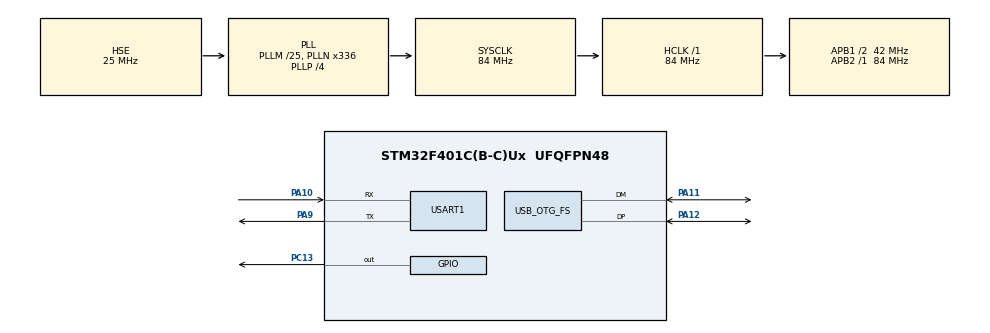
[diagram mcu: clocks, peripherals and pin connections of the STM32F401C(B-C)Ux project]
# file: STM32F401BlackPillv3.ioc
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Dma.Request0=USART1_RX
Dma.Request1=USART1_TX
Dma.USART1_RX.0.Direction=DMA_PERIPH_TO_MEMORY
Dma.USART1_RX.0.FIFOMode=DMA_FIFOMODE_DISABLE
Dma.USART1_RX.0.Instance=DMA2_Stream2
Dma.USART1_RX.0.MemDataAlignment=DMA_MDATAALIGN_BYTE
Dma.USART1_RX.0.MemInc=DMA_MINC_ENABLE
Dma.USART1_RX.0.Mode=DMA_NORMAL
Dma.USART1_RX.0.PeriphDataAlignment=DMA_PDATAALIGN_BYTE
Dma.USART1_RX.0.PeriphInc=DMA_PINC_DISABLE
Dma.USART1_RX.0.Priority=DMA_PRIORITY_LOW
Dma.USART1_TX.1.Direction=DMA_MEMORY_TO_PERIPH
Dma.USART1_TX.1.FIFOMode=DMA_FIFOMODE_DISABLE
Dma.USART1_TX.1.Instance=DMA2_Stream7
Dma.USART1_TX.1.MemDataAlignment=DMA_MDATAALIGN_BYTE
Dma.USART1_TX.1.MemInc=DMA_MINC_ENABLE
Dma.USART1_TX.1.Mode=DMA_NORMAL
Dma.USART1_TX.1.PeriphDataAlignment=DMA_PDATAALIGN_BYTE
Dma.USART1_TX.1.PeriphInc=DMA_PINC_DISABLE
Dma.USART1_TX.1.Priority=DMA_PRIORITY_LOW
Mcu.Family=STM32F4
Mcu.Name=STM32F401C(B-C)Ux
Mcu.Package=UFQFPN48
NVIC.DMA2_Stream2_IRQn=true\:0\:0\:false\:false\:true\:false\:true\:true
NVIC.DMA2_Stream7_IRQn=true\:0\:0\:false\:false\:true\:false\:true\:true
NVIC.OTG_FS_IRQn=true\:0\:0\:false\:false\:true\:false\:true\:true
NVIC.PriorityGroup=NVIC_PRIORITYGROUP_4
NVIC.USART1_IRQn=true\:0\:0\:false\:false\:true\:true\:true\:true
PA10.Mode=Asynchronous
PA10.Signal=USART1_RX
PA11.Mode=Host_Only
PA11.Signal=USB_OTG_FS_DM
PA12.Mode=Host_Only
PA12.Signal=USB_OTG_FS_DP
PA13.Mode=Serial_Wire
PA13.Signal=SYS_JTMS-SWDIO
PA14.Mode=Serial_Wire
PA14.Signal=SYS_JTCK-SWCLK
PA9.Mode=Asynchronous
PA9.Signal=USART1_TX
PB3.Signal=SYS_JTDO-SWO
PC13-ANTI_TAMP.Signal=GPIO_Output
PC14-OSC32_IN.Mode=LSE-External-Oscillator
PC14-OSC32_IN.Signal=RCC_OSC32_IN
PC15-OSC32_OUT.Mode=LSE-External-Oscillator
PC15-OSC32_OUT.Signal=RCC_OSC32_OUT
PH0\ -\ OSC_IN.Mode=HSE-External-Oscillator
PH0\ -\ OSC_IN.Signal=RCC_OSC_IN
PH1\ -\ OSC_OUT.Mode=HSE-External-Oscillator
PH1\ -\ OSC_OUT.Signal=RCC_OSC_OUT
ProjectManager.HeapSize=0x200
ProjectManager.StackSize=0x400
ProjectManager.TargetToolchain=STM32CubeIDE
RCC.48MHZClocksFreq_Value=48000000
RCC.AHBFreq_Value=84000000
RCC.APB1CLKDivider=RCC_HCLK_DIV2
RCC.APB1Freq_Value=42000000
RCC.APB1TimFreq_Value=84000000
RCC.APB2Freq_Value=84000000
RCC.APB2TimFreq_Value=84000000
RCC.CortexFreq_Value=84000000
RCC.HCLKFreq_Value=84000000
RCC.HSE_VALUE=25000000
RCC.HSI_VALUE=16000000
RCC.PLLM=25
RCC.PLLN=336
RCC.PLLP=RCC_PLLP_DIV4
RCC.PLLQ=7
RCC.SYSCLKFreq_VALUE=84000000
RCC.SYSCLKSource=RCC_SYSCLKSOURCE_PLLCLK
RCC.VCOOutputFreq_Value=336000000
USART1.VirtualMode=VM_ASYNC
USB_HOST.USBH_DEBUG_LEVEL=0
USB_HOST.USBH_HandleTypeDef=hUsbHostFS
USB_HOST.VirtualModeFS=Cdc
USB_OTG_FS.VirtualMode=Host_Only
USB_OTG_FS.phy_itface=HCD_PHY_EMBEDDED
VP_USB_HOST_VS_USB_HOST_CDC_FS.Mode=CDC_FS
board=custom

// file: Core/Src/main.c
/* USER CODE BEGIN Header */
/**
  ******************************************************************************
  * @file           : main.c
  * @brief          : Main program body
  ******************************************************************************
  * @attention
  *
  * Copyright (c) 2023 STMicroelectronics.
  * All rights reserved.
  *
  * This software is licensed under terms that can be found in the LICENSE file
  * in the root directory of this software component.
  * If no LICENSE file comes with this software, it is provided AS-IS.
  *
  ******************************************************************************
  */
/* USER CODE END Header */
#include "main.h"
#include "usb_host.h"

/* USER CODE BEGIN Includes */
#include "debugprint.h"
#include "usbh_core.h"
#include "usbh_cdc.h"

#include "strings.h"
#include "ringbuffer.h"
/* USER CODE END Includes */

/* USER CODE BEGIN PTD */
extern USBH_HandleTypeDef hUsbHostFS;
extern ApplicationTypeDef Appli_state;
USBH_StatusTypeDef usbresult;

#define RX_BUFF_SIZE   64  /* Max Received data 1KB */

uint8_t CDC_RX_Buffer[RX_BUFF_SIZE];
uint8_t CDC_TX_Buffer[RX_BUFF_SIZE];

typedef enum {
  CDC_STATE_IDLE = 0,
  CDC_SEND,
  CDC_RECEIVE,
}CDC_StateTypedef;

CDC_StateTypedef CDC_STATE = CDC_STATE_IDLE;

#define RING_BUFF_SIZE 8 /*must be power of 2*/
#define UART_RX_DMA_BUFF_SIZE 512

//#define DMA_RxBUF_SIZE 10
//#define RXBuf_SIZE 2*DMA_RxBUF_SIZE

ring_buffer_t uart_rx_ringbuff_hdl;
uint8_t uart_rx_ringbuff_memory[RING_BUFF_SIZE];
uint8_t dma_uart_rx_buff[UART_RX_DMA_BUFF_SIZE];
/* USER CODE END PTD */

UART_HandleTypeDef huart1;
DMA_HandleTypeDef hdma_usart1_rx;
DMA_HandleTypeDef hdma_usart1_tx;

void SystemClock_Config(void);
static void MX_GPIO_Init(void);
static void MX_DMA_Init(void);
static void MX_USART1_UART_Init(void);
void MX_USB_HOST_Process(void);

/* USER CODE BEGIN 0 */

//https://controllerstech.com/uart-transmit-in-stm32/
char tmpbuf[512];

void uart1_tx_poll(uint8_t *data, uint16_t sz ){
	uint32_t timeout_ms=10;
	HAL_UART_Transmit (&huart1, data, sz, timeout_ms);
}

/**
  * @brief  The application entry point.
  * @retval int
  */

// call back when uart irq
void HAL_UARTEx_RxEventCallback(UART_HandleTypeDef *huart, uint16_t Size){
	if(huart->Instance==USART1){
//		memccpy(rxUartBuff,dmaUartRxBuff,Size);
//		rxUartSize=Size;

		//HAL_UART_Transmit_DMA(&huart1, rxUartBuff, rxUartSize);

		 /* Add array to ring */
		 ring_buffer_queue_arr(&uart_rx_ringbuff_hdl,dma_uart_rx_buff,Size);

		//enable again

		HAL_UARTEx_ReceiveToIdle_DMA(&huart1, dma_uart_rx_buff, sizeof(dma_uart_rx_buff));// enable all irq related to
		  __HAL_DMA_DISABLE_IT(&hdma_usart1_rx,DMA_IT_HT);// dsiable half buffer dma irq

	}

}

void CDC_HANDLER(){
	static ApplicationTypeDef old;
	if(old != Appli_state){

		int n= sprintf(tmpbuf,"Change state from %d to %d \n",old,Appli_state);
		old=Appli_state;
		uart1_tx_poll(tmpbuf,n);
	}

}

//int __io_putchar(int ch)
//{
// // Write character to ITM ch.0
// ITM_SendChar(ch);
// return(ch);
//}

/* USER CODE END 0 */

int main(void)
{

  /* MCU Configuration--------------------------------------------------------*/

  /* Reset of all peripherals, Initializes the Flash interface and the Systick. */
  HAL_Init();

  /* Configure the system clock */
  SystemClock_Config();

  /* Initialize all configured peripherals */
  MX_GPIO_Init();
  MX_DMA_Init();
  MX_USART1_UART_Init();
  MX_USB_HOST_Init();
  /* USER CODE BEGIN 2 */

  ring_buffer_init(&uart_rx_ringbuff_hdl, uart_rx_ringbuff_memory, sizeof(uart_rx_ringbuff_memory));

  //whenever the dma buffer is full or the tx line is idle for one frame time ( 1 byte time) --> the uart irq will be call
  HAL_UARTEx_ReceiveToIdle_DMA(&huart1, dma_uart_rx_buff, sizeof(dma_uart_rx_buff));// enable all irq related to
  __HAL_DMA_DISABLE_IT(&hdma_usart1_rx,DMA_IT_HT);// dsiable half buffer dma irq

  HAL_Delay(1000);

  /* USER CODE END 2 */

  /* Infinite loop */
  /* USER CODE BEGIN WHILE */
  while (1)
  {
	//printf("Debug print form SWO");
    /* USER CODE END WHILE */
    MX_USB_HOST_Process();
    CDC_HANDLER();

  }
}

void SystemClock_Config(void)
{
  RCC_OscInitTypeDef RCC_OscInitStruct = {0};
  RCC_ClkInitTypeDef RCC_ClkInitStruct = {0};

  /** Configure the main internal regulator output voltage
  */
  __HAL_RCC_PWR_CLK_ENABLE();
  __HAL_PWR_VOLTAGESCALING_CONFIG(PWR_REGULATOR_VOLTAGE_SCALE2);

  /** Initializes the RCC Oscillators according to the specified parameters
  * in the RCC_OscInitTypeDef structure.
  */
  RCC_OscInitStruct.OscillatorType = RCC_OSCILLATORTYPE_HSE;
  RCC_OscInitStruct.HSEState = RCC_HSE_ON;
  RCC_OscInitStruct.PLL.PLLState = RCC_PLL_ON;
  RCC_OscInitStruct.PLL.PLLSource = RCC_PLLSOURCE_HSE;
  RCC_OscInitStruct.PLL.PLLM = 25;
  RCC_OscInitStruct.PLL.PLLN = 336;
  RCC_OscInitStruct.PLL.PLLP = RCC_PLLP_DIV4;
  RCC_OscInitStruct.PLL.PLLQ = 7;
  if (HAL_RCC_OscConfig(&RCC_OscInitStruct) != HAL_OK)
  {
    Error_Handler();
  }

  /** Initializes the CPU, AHB and APB buses clocks
  */
  RCC_ClkInitStruct.ClockType = RCC_CLOCKTYPE_HCLK|RCC_CLOCKTYPE_SYSCLK
                              |RCC_CLOCKTYPE_PCLK1|RCC_CLOCKTYPE_PCLK2;
  RCC_ClkInitStruct.SYSCLKSource = RCC_SYSCLKSOURCE_PLLCLK;
  RCC_ClkInitStruct.AHBCLKDivider = RCC_SYSCLK_DIV1;
  RCC_ClkInitStruct.APB1CLKDivider = RCC_HCLK_DIV2;
  RCC_ClkInitStruct.APB2CLKDivider = RCC_HCLK_DIV1;

  if (HAL_RCC_ClockConfig(&RCC_ClkInitStruct, FLASH_LATENCY_2) != HAL_OK)
  {
    Error_Handler();
  }
}

static void MX_USART1_UART_Init(void)
{

  huart1.Instance = USART1;
  huart1.Init.BaudRate = 115200;
  huart1.Init.WordLength = UART_WORDLENGTH_8B;
  huart1.Init.StopBits = UART_STOPBITS_1;
  huart1.Init.Parity = UART_PARITY_NONE;
  huart1.Init.Mode = UART_MODE_TX_RX;
  huart1.Init.HwFlowCtl = UART_HWCONTROL_NONE;
  huart1.Init.OverSampling = UART_OVERSAMPLING_16;
  if (HAL_UART_Init(&huart1) != HAL_OK)
  {
    Error_Handler();
  }

}

static void MX_DMA_Init(void)
{

  /* DMA controller clock enable */
  __HAL_RCC_DMA2_CLK_ENABLE();

  /* DMA interrupt init */
  /* DMA2_Stream2_IRQn interrupt configuration */
  HAL_NVIC_SetPriority(DMA2_Stream2_IRQn, 0, 0);
  HAL_NVIC_EnableIRQ(DMA2_Stream2_IRQn);
  /* DMA2_Stream7_IRQn interrupt configuration */
  HAL_NVIC_SetPriority(DMA2_Stream7_IRQn, 0, 0);
  HAL_NVIC_EnableIRQ(DMA2_Stream7_IRQn);

}

static void MX_GPIO_Init(void)
{
  GPIO_InitTypeDef GPIO_InitStruct = {0};

  /* GPIO Ports Clock Enable */
  __HAL_RCC_GPIOC_CLK_ENABLE();
  __HAL_RCC_GPIOH_CLK_ENABLE();
  __HAL_RCC_GPIOA_CLK_ENABLE();
  __HAL_RCC_GPIOB_CLK_ENABLE();

  /*Configure GPIO pin Output Level */
  HAL_GPIO_WritePin(GPIOC, GPIO_PIN_13, GPIO_PIN_RESET);

  /*Configure GPIO pin : PC13 */
  GPIO_InitStruct.Pin = GPIO_PIN_13;
  GPIO_InitStruct.Mode = GPIO_MODE_OUTPUT_PP;
  GPIO_InitStruct.Pull = GPIO_NOPULL;
  GPIO_InitStruct.Speed = GPIO_SPEED_FREQ_LOW;
  HAL_GPIO_Init(GPIOC, &GPIO_InitStruct);

}

void Error_Handler(void)
{
  __disable_irq();
  while (1)
  {
  }
}
